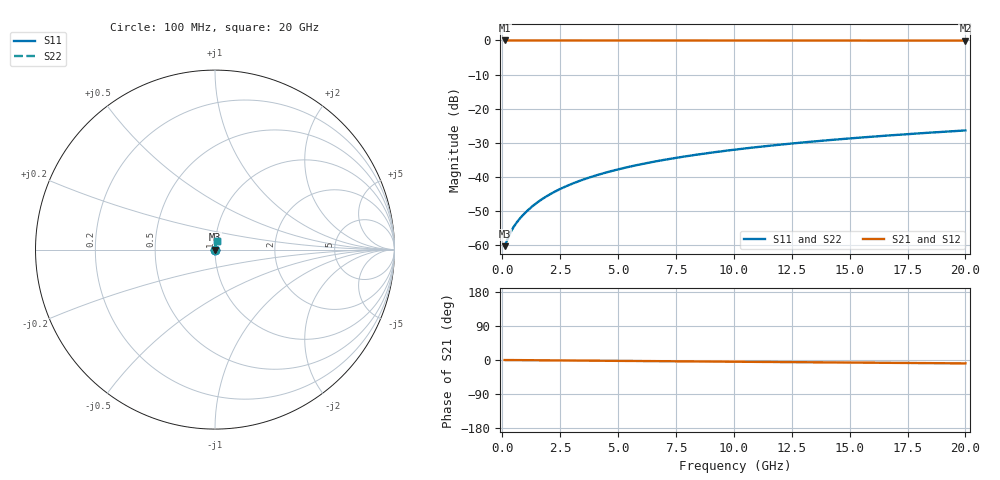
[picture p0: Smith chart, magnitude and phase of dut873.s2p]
! Touchstone file exported from HFSS 2026.1.0
!  File:  C:/ffzhzh/LocalFiles/Ansys_Project_Files/temp_train_BSMRDL_873_1783170925_43440.aedt
!  Generated:  09:16:36 PM Jul  4, 2026
!  Design:  BSMRDL
!  Project:  temp_train_BSMRDL_873_1783170925_43440
! Variables:
!  h_bsmrdl = 2.96um
!  h_ox = 20um
!  h_rdl = 5um
!  h_sub = 80um
!  h_tmrdl = 5um
!  h_tsv = 80um
!  h_via = 3um
!  l_bsmrdl = 129.41um
!  l_sub = 529.41um
!  l_tmrdl = 200um
!  m_sub = 200um
!  pitch = 35.15um
!  r_tsv = 6um
!  s_tmrdl = 10um
!  w_bsmrdl = 26.06um
!  w_sub = 500um
!  w_tmrdl = 12um
!  x_tsv_center1 = 206um
!  x_tsv_center2 = 361.47um
!  x_tsv_center3 = 573.47um
!  x_tsv_center4 = 728.94um
!  x_tsv_center5 = 940.94um
!  x_tsv_center6 = 1096.41um
# GHz S MA R 50.000000
! Terminal data exported
! Port[1] = BSM_RDL1_1_T1
! Port[2] = BSM_RDL1_1_T2
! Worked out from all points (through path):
!   200 points, 100 MHz to 20 GHz, reference 50 ohm
!   highest |S21| = -0.01 dB at 100 MHz (marker M1); lowest = 0.0 dB at 20 GHz (marker M2)
!   group delay of S21, straight-line fit = 1.24 ps
!   lowest |S11| = -60.3 dB at 100 MHz (marker M3), VSWR 1.00, Z = 50.1 + j0.0353 ohm
!   |S11| at or under -10 dB: start of sweep to end of sweep
!   |S22| runs from -60.3 to -26.4 dB; largest |S21 - S12| = 3.2e-15
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0.1  0.0009707 21.3  0.9991 -0.1  0.9991 -0.1  0.0009707 21.3
! Gamma 0 0 0 0
! Port Impedance 50 0 50 0
0.3  0.001414 43.5  0.999 -0.1  0.999 -0.1  0.001414 43.5
0.4  0.001651 48.8  0.9989 -0.2  0.9989 -0.2  0.001651 48.8
0.5  0.001881 52.8  0.9989 -0.2  0.9989 -0.2  0.001881 52.8
0.6  0.002107 56.0  0.9988 -0.3  0.9988 -0.3  0.002107 56.0
0.8  0.002558 61.1  0.9988 -0.4  0.9988 -0.4  0.002558 61.1
1  0.003018 64.9  0.9987 -0.5  0.9987 -0.5  0.003018 64.9
1.2  0.003488 67.9  0.9987 -0.6  0.9987 -0.6  0.003488 67.9
1.7  0.004696 72.7  0.9986 -0.8  0.9986 -0.8  0.004696 72.7
2.2  0.005932 75.5  0.9986 -1.0  0.9986 -1.0  0.005932 75.5
2.8  0.00743 77.5  0.9985 -1.3  0.9985 -1.3  0.00743 77.4
3.5  0.009184 78.8  0.9984 -1.6  0.9984 -1.6  0.009184 78.8
4.2  0.01094 79.5  0.9983 -1.9  0.9983 -1.9  0.01094 79.5
5  0.01293 80.0  0.9982 -2.3  0.9982 -2.3  0.01293 80.0
5.9  0.01516 80.2  0.998 -2.7  0.998 -2.7  0.01516 80.2
6.8  0.01736 80.2  0.9978 -3.1  0.9978 -3.1  0.01736 80.2
8.3  0.021 80.0  0.9975 -3.8  0.9975 -3.8  0.021 80.0
10.1  0.02531 79.6  0.9971 -4.6  0.9971 -4.6  0.02531 79.6
11.7  0.02907 79.1  0.9967 -5.3  0.9967 -5.3  0.02907 79.1
13.4  0.03303 78.6  0.9963 -6.0  0.9963 -6.0  0.03303 78.6
16.7  0.04061 77.5  0.9956 -7.5  0.9956 -7.5  0.04061 77.5
20  0.04808 76.3  0.9949 -8.9  0.9949 -8.9  0.04809 76.3
